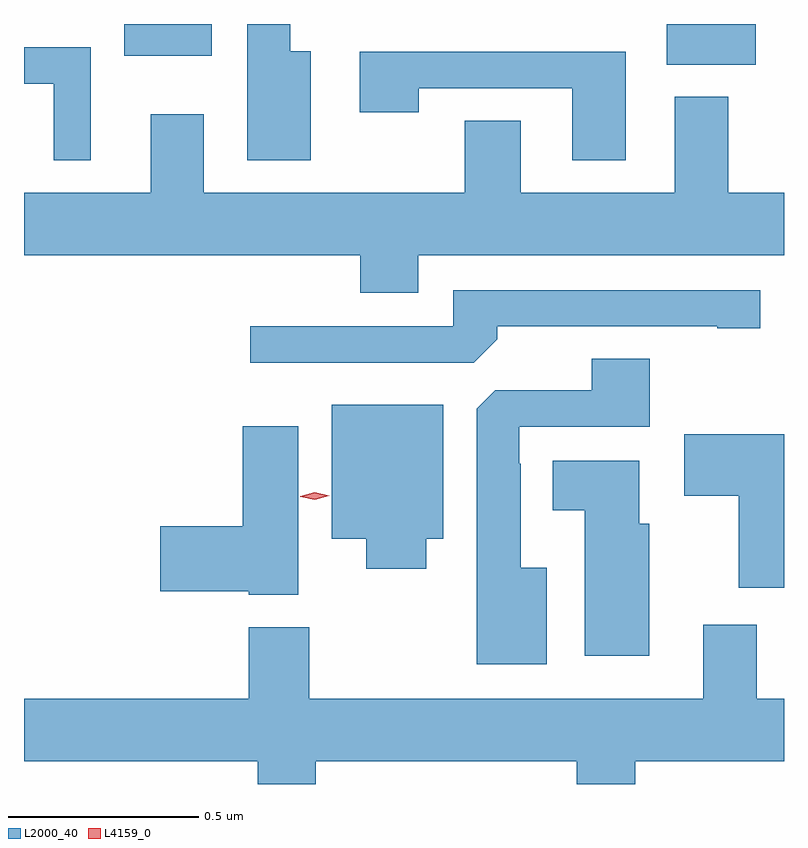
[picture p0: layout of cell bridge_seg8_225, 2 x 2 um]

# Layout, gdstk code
import gdstk
lib = gdstk.Library(unit=1e-6, precision=1e-09)
def R(c, l, rs):  # rectangles x0, y0, x1, y1
    for r in rs: c.add(gdstk.rectangle(r[:2], r[2:], *l))
def P(c, l, *ps):  # polygons
    for p in ps: c.add(gdstk.Polygon(p, *l))
L2000_40 = (2000, 40)
L4159_0 = (4159, 0)

bridge_seg8_225 = lib.new_cell('bridge_seg8_225')
R(bridge_seg8_225, L2000_40, [(131.612,1110.341,131.845,1110.448), (130.184,1110.365,130.414,1110.448)])
P(bridge_seg8_225, L2000_40, [(130.675,1110.376),(130.621,1110.376),(130.621,1110.448),(130.508,1110.448),(130.508,1110.09),(130.675,1110.09)],
  [(130.096,1110.387),(129.92,1110.387),(129.92,1110.291),(129.998,1110.291),(129.998,1110.09),(130.096,1110.09)],
  [(131.503,1110.375),(130.803,1110.375),(130.803,1110.216),(130.959,1110.216),(130.959,1110.279),(131.363,1110.279),(131.363,1110.09),(131.503,1110.09)],
  [(130.957,1109.84),(131.92,1109.84),(131.92,1110.004),(131.773,1110.004),(131.773,1110.256),(131.633,1110.256),(131.633,1110.004),(131.227,1110.004),(131.227,1110.194),(131.08,1110.194),(131.08,1110.004),(130.393,1110.004),(130.393,1110.211),(130.253,1110.211),(130.253,1110.004),(129.92,1110.004),(129.92,1109.84),(130.805,1109.84),(130.805,1109.741),(130.957,1109.741)],
  [(131.165,1109.618),(131.165,1109.652),(131.744,1109.652),(131.744,1109.647),(131.857,1109.647),(131.857,1109.748),(131.049,1109.748),(131.049,1109.652),(130.515,1109.652),(130.515,1109.556),(131.103,1109.556)],
  [(131.296,1109.017),(131.227,1109.017),(131.227,1109.291),(131.223,1109.291),(131.223,1109.388),(131.567,1109.388),(131.567,1109.567),(131.414,1109.567),(131.414,1109.484),(131.16,1109.484),(131.111,1109.435),(131.111,1108.763),(131.296,1108.763)],
  [(130.978,1109.093),(131.023,1109.093),(131.023,1109.446),(130.73,1109.446),(130.73,1109.093),(130.82,1109.093),(130.82,1109.015),(130.978,1109.015)],
  [(130.642,1109.389),(130.496,1109.389),(130.496,1109.126),(130.278,1109.126),(130.278,1108.955),(130.512,1108.955),(130.512,1108.946),(130.642,1108.946)],
  [(131.92,1109.368),(131.658,1109.368),(131.658,1109.206),(131.801,1109.206),(131.801,1108.965),(131.92,1108.965)],
  [(131.566,1109.133),(131.539,1109.133),(131.539,1109.299),(131.312,1109.299),(131.312,1109.168),(131.396,1109.168),(131.396,1108.785),(131.566,1108.785)],
  [(130.688,1108.508),(131.375,1108.508),(131.375,1108.448),(131.528,1108.448),(131.528,1108.508),(131.92,1108.508),(131.92,1108.672),(131.848,1108.672),(131.848,1108.867),(131.708,1108.867),(131.708,1108.672),(130.671,1108.672),(130.671,1108.861),(130.511,1108.861),(130.511,1108.672),(129.92,1108.672),(129.92,1108.508),(130.535,1108.508),(130.535,1108.448),(130.688,1108.448)])
P(bridge_seg8_225, L4159_0, [(130.685,1109.196),(130.647,1109.204),(130.647,1109.205),(130.647,1109.205),(130.685,1109.216),(130.723,1109.207),(130.723,1109.207),(130.723,1109.206)])

lib.write_gds('bridge_seg8_225.gds')
